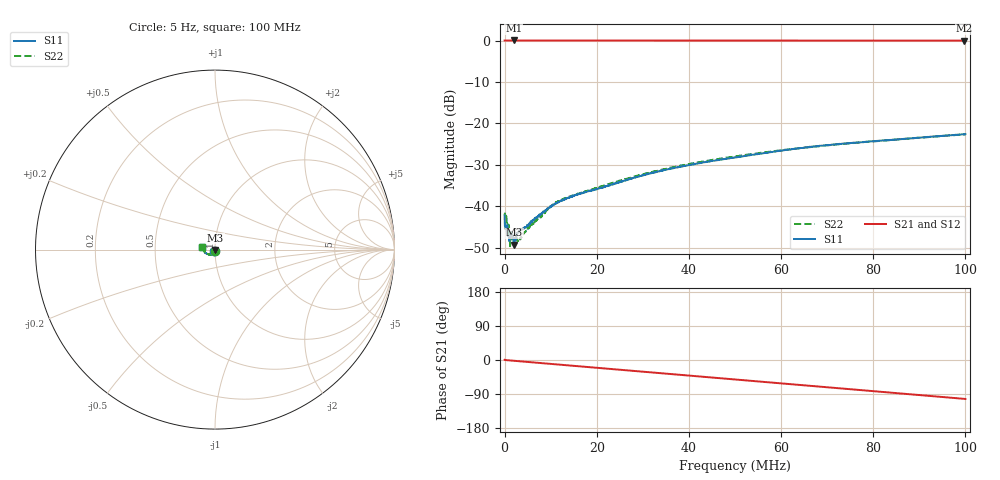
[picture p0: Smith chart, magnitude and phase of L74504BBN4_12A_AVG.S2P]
!Agilent Technologies,E5061B,MY49102235,A.02.00
!Date: Tue Jul 11 16:38:54 2023
!Data & Calibration Information:
!Freq	S11:SOLT2(ON)	S21:SOLT2(ON)	S12:SOLT2(ON)	S22:SOLT2(ON)
# Hz S RI R 50
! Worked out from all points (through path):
!   1600 points, 5 Hz to 100 MHz, reference 50 ohm
!   highest |S21| = 0.02 dB at 2.001 MHz (marker M1); lowest = 0.0 dB at 99.75 MHz (marker M2)
!   group delay of S21, straight-line fit = 2.86 ns
!   lowest |S11| = -49.3 dB at 2.126 MHz (marker M3), VSWR 1.01, Z = 50.3 - j0.212 ohm
!   |S11| at or under -10 dB: start of sweep to end of sweep
!   |S22| runs from -49.6 to -22.6 dB; largest |S21 - S12| = 0.0026
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5  -0.00529 -0.00566  1.002 0.00798  1 0.0102  -0.00159 -0.00755
437778.6  0.00514 -0.000412  1.001 -0.00552  1.001 -0.00617  0.00662 -0.00206
625395.8  0.00509 -0.000377  1.002 -0.0107  1.002 -0.0102  0.0061 -0.000747
938091.3  0.00435 -1.52e-05  1.001 -0.0155  1.001 -0.015  0.00593 -0.0006
1500943  0.00438 -0.00188  1.001 -0.0256  1.001 -0.0255  0.00305 -0.00305
2001256  0.00307 -0.00199  1.002 -0.0358  1.001 -0.0354  0.00322 -0.00171
2126334  0.00271 -0.00211  1.001 -0.0382  1 -0.0374  0.00387 -0.00151
2439029  0.0038 -0.00202  0.9998 -0.0441  0.9994 -0.0435  0.00367 -0.00155
2751725  0.00424 -0.00223  0.9999 -0.0487  0.9995 -0.0486  0.00325 -0.00196
3252037  0.00432 -0.00285  0.9994 -0.0582  0.9991 -0.0579  0.00325 -0.00235
6003757  0.00357 -0.00542  0.9952 -0.1073  0.9951 -0.107  0.00317 -0.00526
9631024  0.00203 -0.00935  0.9863 -0.1719  0.986 -0.1717  0.00146 -0.00942
1.156974e7  0.000867 -0.0113  0.9798 -0.206  0.9794 -0.2057  4e-05 -0.0115
1.669794e7  -0.00201 -0.0142  0.956 -0.295  0.9559 -0.2947  -0.00235 -0.0144
2.582865e7  -0.00673 -0.019  0.8955 -0.4469  0.8953 -0.4467  -0.00471 -0.0204
3.333334e7  -0.0128 -0.023  0.8271 -0.5629  0.8269 -0.5626  -0.0115 -0.0243
4.021264e7  -0.0188 -0.0255  0.7512 -0.6602  0.7514 -0.6601  -0.0186 -0.0266
5.003127e7  -0.0285 -0.0263  0.624 -0.7817  0.6239 -0.7814  -0.0289 -0.0275
6.672921e7  -0.0479 -0.0216  0.3651 -0.9303  0.3654 -0.9302  -0.0473 -0.0217
8.33646e7  -0.0626 -0.00592  0.0757 -0.9959  0.0757 -0.9959  -0.0623 -0.00733
9.974984e7  -0.0724 0.0156  -0.2161 -0.9739  -0.2158 -0.974  -0.0722 0.0133
1e8  -0.0725 0.0159  -0.2204 -0.9731  -0.2203 -0.9732  -0.0725 0.0139
